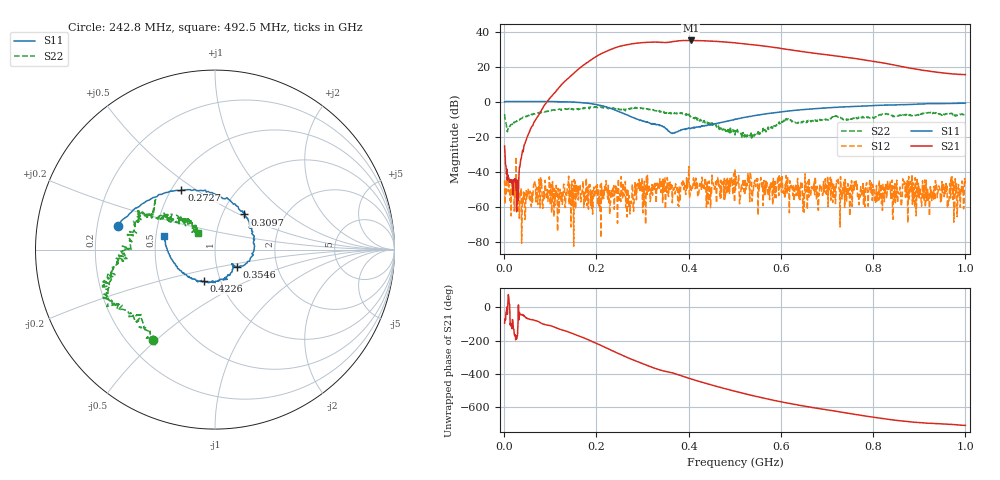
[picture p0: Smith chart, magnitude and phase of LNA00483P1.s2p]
! Created with skrf 1.9.0 (http://scikit-rf.org).
# Hz S RI R 50.0
!freq ReS11 ImS11 ReS21 ImS21 ReS12 ImS12 ReS22 ImS22
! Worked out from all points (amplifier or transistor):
!   1001 points, 1 MHz to 1 GHz, reference 50 ohm
!   highest |S21| = 34.9 dB at 404.6 MHz (marker M1)
!   |S21| within 3 dB of that: 256.3 MHz to 557.5 MHz (301.2 MHz wide, 74 % of centre)
!   unconditionally stable (mu >= 1): 253.9 MHz to 292.7 MHz; 310.8 MHz to 400.1 MHz; 400.8 MHz to end of sweep (the widest 3 of 49)
!   at 166.8 MHz: K = 2.88, MAG = 30.8 dB, |S12| = -56.8 dB
!   at 500.5 MHz: K = 1.05, MAG = 34.6 dB, |S12| = -38.5 dB
!   at 1 GHz: K = 3.21, MAG = 23.1 dB, |S12| = -46.7 dB
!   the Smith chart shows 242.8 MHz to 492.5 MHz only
!   S11 on the Smith chart (normalised r, x): 242.8 MHz: 0.29, +0.11; 272.7 MHz: 0.56, +0.44; 309.7 MHz: 1.27, +0.53; 354.6 MHz: 1.25, -0.24; 422.6 MHz: 0.84, -0.30; 492.5 MHz: 0.55, +0.09
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1000000  0.9845 0.0172  -0.00445 -0.0533  -0.000519 -0.00564  0.3136 0.3032
1.08892e8  0.5288 -0.8446  -0.8316 -1.535  0.00323 -0.000204  0.4147 -0.3879
1.67833e8  -0.2204 -0.9034  -9.954 -0.4503  0.00199 0.000398  0.0114 -0.6442
2.09791e8  -0.6617 -0.3913  -15.32 17.11  2.27e-05 -0.000128  -0.2195 -0.6534
2.42758e8  -0.5407 0.1306  0.525 34.92  -0.000291 -0.00249  -0.3431 -0.5035
2.72728e8  -0.1872 0.3306  26.53 34.85  -0.000615 -2.48e-05  -0.5499 -0.3009
3.09691e8  0.1636 0.1956  48.27 9.891  0.000554 0.00214  -0.5996 -0.1523
3.34666e8  0.2169 -0.00747  48.44 -10.91  0.000174 0.00482  -0.5062 -0.0404
3.54646e8  0.1208 -0.0944  43.47 -21.95  -0.00116 0.00466  -0.4753 0.0592
3.75625e8  0.0995 -0.0949  39.6 -36.58  0.00103 0.00376  -0.4326 0.1836
4.04596e8  0.0253 -0.1725  19.95 -51.84  0.00168 0.00311  -0.3195 0.1714
4.22578e8  -0.0604 -0.1754  5.74 -54.48  0.00272 -0.000833  -0.2498 0.1822
4.55545e8  -0.2063 -0.107  -18.14 -49.3  0.00264 0.00167  -0.1529 0.1451
4.92508e8  -0.2828 0.0765  -35.69 -32.69  0.00494 0.00257  -0.0971 0.0942
5.005e8  -0.2888 0.1236  -38.29 -28.35  0.0112 0.00385  -0.0839 0.0725
5.39461e8  -0.2231 0.3208  -41.19 -7.418  0.00305 -0.000609  -0.1147 -0.031
5.83417e8  -0.0456 0.4707  -33.73 10.53  -0.00344 -0.00537  -0.1971 -0.0828
6.21379e8  0.121 0.5339  -23.71 18.22  0.00253 -0.00234  -0.2869 -0.0995
6.67333e8  0.3297 0.52  -12 21.18  -0.000335 -0.00317  -0.2842 -0.00104
7.55245e8  0.6264 0.3585  2.782 17.05  0.00197 -0.000164  -0.3152 0.0846
8.34166e8  0.7816 0.1383  7.891 8.763  -0.00336 0.00146  -0.4148 0.1277
1e9  0.8086 -0.3939  5.756 1.181  -0.0037 -0.00274  -0.1539 0.3993
